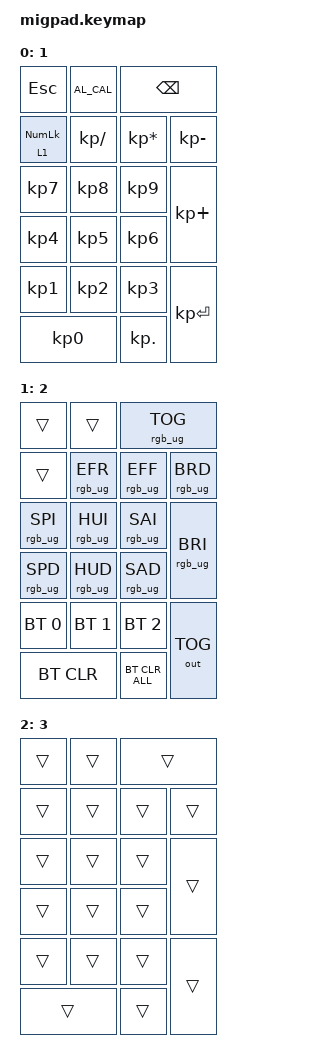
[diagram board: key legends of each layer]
#include <behaviors.dtsi>
#include <dt-bindings/zmk/bt.h>
#include <dt-bindings/zmk/keys.h>
#include <dt-bindings/zmk/outputs.h>
#include <dt-bindings/zmk/rgb.h>

/ {
    keymap {
        compatible = "zmk,keymap";

        1 {
            bindings = <
&kp ESC        &kp C_AL_CAL                    &kp BACKSPACE
&lt 1 KP_NLCK  &kp KP_DIVIDE  &kp KP_MULTIPLY  &kp KP_MINUS
&kp KP_N7      &kp KP_N8      &kp KP_N9
&kp KP_N4      &kp KP_N5      &kp KP_N6        &kp KP_PLUS
&kp KP_N1      &kp KP_N2      &kp KP_N3
               &kp KP_N0      &kp KP_DOT       &kp KP_ENTER
            >;
        };

        2 {
            bindings = <
&trans           &trans                            &rgb_ug RGB_TOG
&trans           &rgb_ug RGB_EFR  &rgb_ug RGB_EFF  &rgb_ug RGB_BRD
&rgb_ug RGB_SPI  &rgb_ug RGB_HUI  &rgb_ug RGB_SAI
&rgb_ug RGB_SPD  &rgb_ug RGB_HUD  &rgb_ug RGB_SAD  &rgb_ug RGB_BRI
&bt BT_SEL 0     &bt BT_SEL 1     &bt BT_SEL 2
                 &bt BT_CLR       &bt BT_CLR_ALL   &out OUT_TOG
            >;
        };

        3 {
            bindings = <
&trans  &trans          &trans
&trans  &trans  &trans  &trans
&trans  &trans  &trans
&trans  &trans  &trans  &trans
&trans  &trans  &trans
        &trans  &trans  &trans
            >;
        };
    };
};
